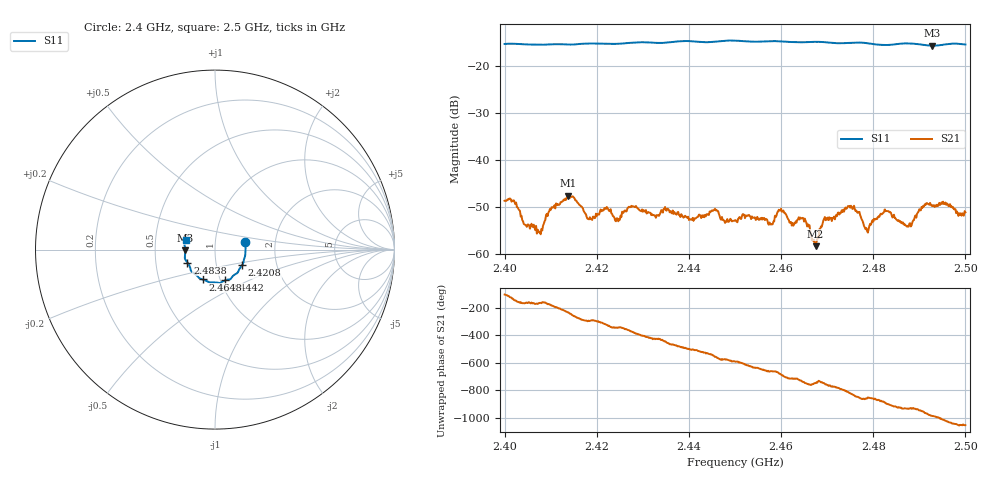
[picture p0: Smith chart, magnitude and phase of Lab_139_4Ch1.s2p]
# Hz S RI R 50
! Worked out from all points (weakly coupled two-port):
!   601 points, 2.4 GHz to 2.5 GHz, reference 50 ohm
!   highest |S21| = -47.60 dB at 2.4138 GHz (marker M1); lowest = -58.3 dB at 2.4675 GHz (marker M2)
!   lowest |S11| = -15.6 dB at 2.4928 GHz (marker M3), VSWR 1.40, Z = 35.8 - j0.343 ohm
!   |S11| at or under -10 dB: start of sweep to end of sweep
!   S12 and S22 are empty: the file has one direction only
!   S11 on the Smith chart (normalised r, x): 2.4 GHz: 1.40, +0.12; 2.4208 GHz: 1.33, -0.24; 2.4442 GHz: 1.05, -0.37; 2.4648 GHz: 0.83, -0.28; 2.4838 GHz: 0.73, -0.11; 2.5 GHz: 0.72, +0.08
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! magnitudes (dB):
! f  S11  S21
! 2.4 GHz  -15.3  -48.7
! 2.4075 GHz  -15.4  -55.4
! 2.4138 GHz  -15.4  -47.6
! 2.4167 GHz  -15.2  -49.9
! 2.4185 GHz  -15.2  -52.2
! 2.4208 GHz  -15.2  -50.6
! 2.4333 GHz  -15.0  -51.8
! 2.4442 GHz  -14.9  -51.5
! 2.45 GHz  -14.5  -52.8
! 2.4577 GHz  -14.7  -53.6
! 2.46 GHz  -14.7  -50.4
! 2.4648 GHz  -14.9  -52.4
! 2.4667 GHz  -14.8  -57.0
! 2.4675 GHz  -14.8  -58.3
! 2.4697 GHz  -14.9  -52.8
! 2.4743 GHz  -15.1  -50.2
! 2.4785 GHz  -15.1  -54.5
! 2.4833 GHz  -15.5  -50.9
! 2.4838 GHz  -15.4  -51.2
! 2.4878 GHz  -15.1  -53.5
! 2.4928 GHz  -15.6  -49.6
! 2.5 GHz  -15.4  -51.1
